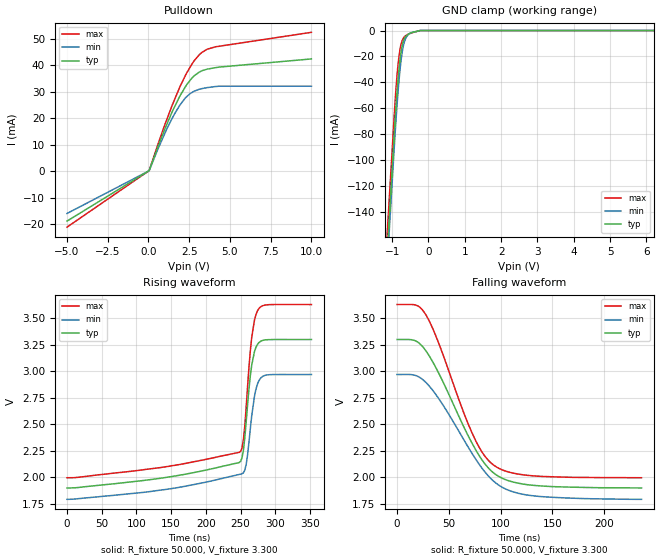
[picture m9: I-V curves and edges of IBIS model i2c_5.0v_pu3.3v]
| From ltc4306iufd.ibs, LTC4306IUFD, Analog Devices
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[Model]   i2c_5.0v_pu3.3v
Model_type I/O_open_drain
Vinl=5.200E-01
Vinh=2.000E+00
Vref=3.300E+00
Rref=2.700E+03
Cref=0.000E+00
Vmeas=2.500E+00
C_comp   1.380E-12   1.270E-12   1.490E-12
[Model spec]
Vref  3.30   2.97   3.63
Vinl  0.52   0.40   0.64
|Vinh
[Voltage Range]   5.000E+00   4.500E+00   5.500E+00
[POWER Clamp Reference]   5.000E+00   4.500E+00   5.500E+00
[GND Clamp Reference]   0.000E+00   0.000E+00   0.000E+00
[Pullup Reference]   5.000E+00   4.500E+00   5.500E+00
[Pulldown Reference]   0.000E+00   0.000E+00   0.000E+00
[Temperature Range]   25   85   -40
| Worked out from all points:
|   slope of the pulldown table from 0 to 0.75 V, typ, clamps not added: 63.2 ohm
|   GND clamp passes 1 mA (typ) near -0.37 V on its own axis
|   rising waveform, R_fixture 50.000, V_fixture 3.300: 20-80 % time 13.4ns typ, 20.8ns min, 12.5ns max; typ from 1.9 V to 3.3 V
|   falling waveform, R_fixture 50.000, V_fixture 3.300: 20-80 % time 42.7ns typ, 46ns min, 38.4ns max; typ from 3.3 V to 1.9 V
[GND Clamp]
-5V       -2.008A    -1.987A    -1.968A
-1.02V    -117.2mA   -126.9mA   -102mA
-940mV    -78.99mA   -89.36mA   -64.32mA
-880mV    -53.14mA   -63.47mA   -39.77mA
-820mV    -32.24mA   -41.43mA   -21.85mA
-760mV    -17.54mA   -24.41mA   -11.27mA
-700mV    -9.034mA   -13.03mA   -6.351mA
-640mV    -5.118mA   -6.912mA   -4.278mA
-580mV    -3.29mA    -3.891mA   -3.156mA
-460mV    -1.624mA   -1.588mA   -1.743mA
-220mV    0A         0A         0A
10V       0A         0A         0A
[Pulldown]
-5V       -18.87mA   -15.99mA   -21.15mA
20mV      73.93uA    62.39uA    83.36uA
1.12V     17.56mA    15.84mA    19.35mA
1.46V     22.45mA    19.98mA    24.91mA
1.9V      27.99mA    24.64mA    31.39mA
2.28V     31.97mA    27.72mA    36.27mA
2.58V     34.48mA    29.33mA    39.51mA
2.8V      35.95mA    30.14mA    41.61mA
3.24V     37.75mA    31.07mA    44.59mA
3.6V      38.47mA    31.5mA     45.99mA
4.12V     39.03mA    31.91mA    46.9mA
10V       42.32mA    32.02mA    52.36mA
[Rising Waveform]
R_fixture = 50.000
V_fixture = 3.300
V_fixture_min = 2.970
V_fixture_max = 3.630
|  time   V(typ)   V(min)   V(max)
0s        1.9V       1.793V     1.996V
144ns     2.001V     1.888V     2.102V
248ns     2.14V      2.028V     2.236V
254ns     2.255V     2.043V     2.353V
258ns     2.521V     2.122V     2.658V
262ns     2.831V     2.33V      3.036V
266ns     3.058V     2.581V     3.32V
274ns     3.251V     2.875V     3.566V
288ns     3.298V     2.966V     3.627V
352ns     3.3V       2.97V      3.63V
[Falling Waveform]
R_fixture = 50.000
V_fixture = 3.300
V_fixture_min = 2.970
V_fixture_max = 3.630
|  time   V(typ)   V(min)   V(max)
0s        3.3V       2.97V      3.63V
18ns      3.286V     2.96V      3.625V
28ns      3.191V     2.894V     3.53V
40ns      2.986V     2.745V     3.27V
72ns      2.329V     2.231V     2.427V
84ns      2.137V     2.061V     2.21V
94ns      2.036V     1.957V     2.11V
110ns     1.961V     1.87V      2.045V
132ns     1.924V     1.825V     2.014V
236ns     1.9V       1.793V     1.996V
[Ramp]
dV/dt_r   1.1204E+00/1.3300E-08   9.1751E-01/2.0690E-08   1.3406E+00/1.2340E-08
dV/dt_f   1.1204E+00/4.2672E-08   9.1751E-01/4.5977E-08   1.3406E+00/3.8396E-08
R_load = 50
